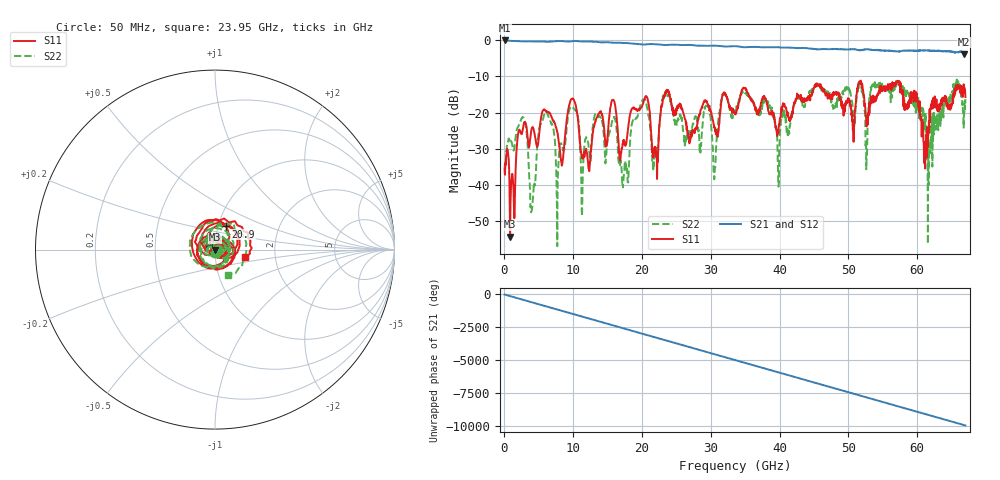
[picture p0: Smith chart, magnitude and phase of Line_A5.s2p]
#  HZ  S  MA  R  50.00
! Rohde & Schwarz ZVA67 4Ports - Version 4.11 - 1305.7002k04 SN: 101051
! Date: 2023-05-31 12:45:59
! Measurements: S11 S21 S12 S22
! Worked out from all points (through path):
!   1340 points, 50 MHz to 67 GHz, reference 50 ohm
!   highest |S21| = -0.10 dB at 150 MHz (marker M1); lowest = -3.9 dB at 66.85 GHz (marker M2)
!   group delay of S21, straight-line fit = 412 ps
!   lowest |S11| = -54.3 dB at 850 MHz (marker M3), VSWR 1.00, Z = 49.8 - j0.00451 ohm
!   |S11| at or under -10 dB: start of sweep to end of sweep
!   |S22| runs from -56.9 to -10.9 dB; largest |S21 - S12| = 0.16
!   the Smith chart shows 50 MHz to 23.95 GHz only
!   S11 on the Smith chart (normalised r, x): 50 MHz: 1.03, +0.01; 20.9 GHz: 1.09, +0.29; 23.95 GHz: 1.40, -0.12
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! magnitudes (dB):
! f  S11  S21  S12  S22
! 50 MHz  -35.7  -0.1  -0.1  -34.6
! 150 MHz  -33.9  -0.1  -0.1  -34.2
! 850 MHz  -54.3  -0.2  -0.2  -28.0
! 2.9 GHz  -22.7  -0.3  -0.3  -21.8
! 4.05 GHz  -24.1  -0.4  -0.4  -46.4
! 5.8 GHz  -19.1  -0.4  -0.4  -20.5
! 7.75 GHz  -25.7  -0.3  -0.3  -40.9
! 9.9 GHz  -16.1  -0.3  -0.3  -18.5
! 11.25 GHz  -32.0  -0.4  -0.3  -46.8
! 20.9 GHz  -16.9  -1.1  -1.1  -20.4
! 22.4 GHz  -29.4  -1.2  -1.2  -28.1
! 23.95 GHz  -15.2  -1.3  -1.3  -15.9
! 29.5 GHz  -17.4  -1.6  -1.6  -18.3
! 30.55 GHz  -24.0  -1.5  -1.5  -37.8
! 31.75 GHz  -14.9  -1.8  -1.7  -14.9
! 33.55 GHz  -20.6  -1.7  -1.7  -19.3
! 39.85 GHz  -24.8  -2.0  -2.0  -40.5
! 44.7 GHz  -14.6  -2.4  -2.4  -13.8
! 55.85 GHz  -13.1  -2.9  -2.9  -14.1
! 61.2 GHz  -31.2  -2.9  -2.9  -20.0
! 66.85 GHz  -13.1  -3.9  -3.9  -20.1
! 67 GHz  -15.7  -3.6  -3.6  -16.3
